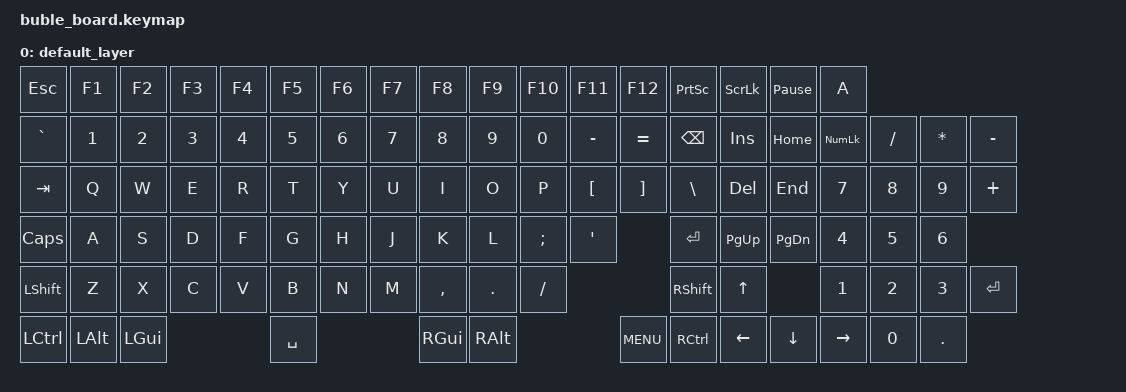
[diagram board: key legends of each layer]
// This file was generated from a template. Edit it to match your keyboard.
// See https://zmk.dev/docs/development/hardware-integration/new-shield for more instructions.

#include <behaviors.dtsi>
#include <dt-bindings/zmk/keys.h>

/ {
    // Define a default keymap here.
    // See https://zmk.dev/docs/development/hardware-integration/new-shield#default-keymap.
    keymap {
        compatible = "zmk,keymap";

        default_layer {
            bindings = <
                &kp ESC    &kp F1    &kp F2    &kp F3  &kp F4  &kp F5     &kp F6  &kp F7  &kp F8     &kp F9    &kp F10   &kp F11    &kp F12     &kp PSCRN  &kp SCROLLLOCK  &kp PAUSE_BREAK  &kp A
                &kp GRAVE  &kp N1    &kp N2    &kp N3  &kp N4  &kp N5     &kp N6  &kp N7  &kp N8     &kp N9    &kp N0    &kp MINUS  &kp EQUAL              &kp BSPC        &kp INS          &kp HOME   &kp KP_NUMLOCK  &kp FSLH  &kp STAR  &kp MINUS
                &kp TAB    &kp Q     &kp W     &kp E   &kp R   &kp T      &kp Y   &kp U   &kp I      &kp O     &kp P     &kp LBKT   &kp RBKT               &kp BSLH        &kp DEL          &kp END    &kp N7          &kp N8    &kp N9    &kp PLUS
                &kp CAPS   &kp A     &kp S     &kp D   &kp F   &kp G      &kp H   &kp J   &kp K      &kp L     &kp SEMI  &kp APOS                          &kp ENTER       &kp PG_UP        &kp PG_DN  &kp N4          &kp N5    &kp N6
                &kp LSHFT  &kp Z     &kp X     &kp C   &kp V   &kp B      &kp N   &kp M   &kp COMMA  &kp DOT   &kp FSLH                                    &kp RSHFT       &kp UP                      &kp N1          &kp N2    &kp N3    &kp RET
                &kp LCTRL  &kp LALT  &kp LGUI                  &kp SPACE                  &kp RGUI   &kp RALT                       &kp C_MENU  &kp RCTRL  &kp LEFT        &kp DOWN         &kp RIGHT  &kp N0                    &kp DOT
            >;
        };
    };
};
